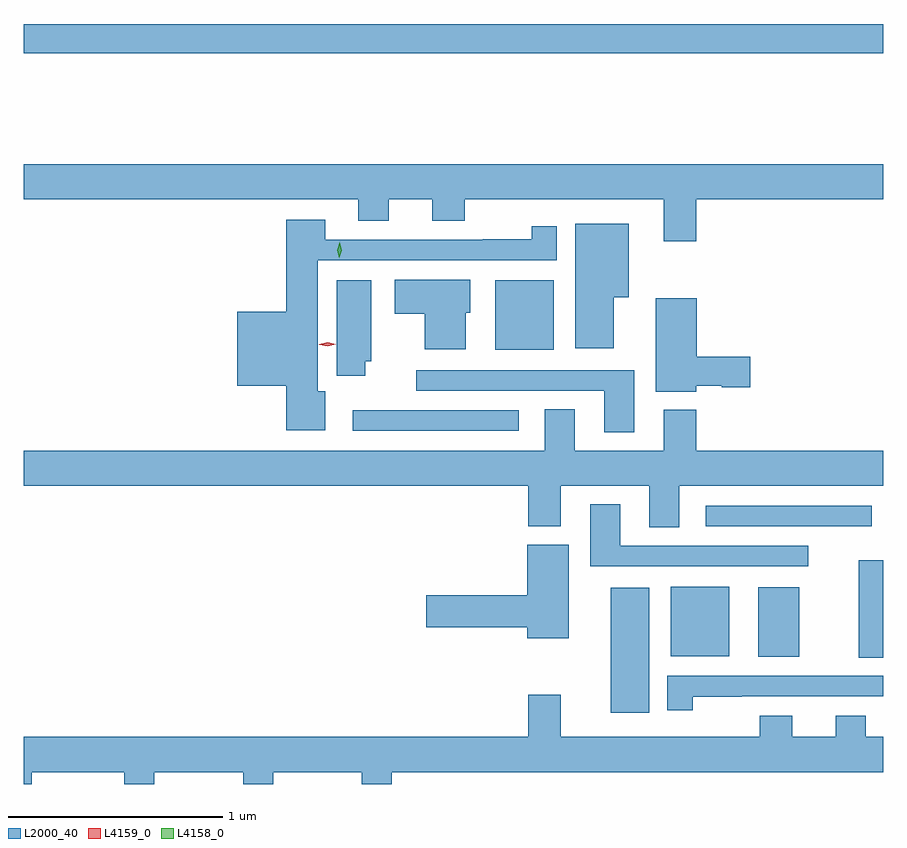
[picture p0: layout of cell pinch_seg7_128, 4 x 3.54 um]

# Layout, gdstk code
import gdstk
lib = gdstk.Library(unit=1e-6, precision=1e-09)
def R(c, l, rs):  # rectangles x0, y0, x1, y1
    for r in rs: c.add(gdstk.rectangle(r[:2], r[2:], *l))
def P(c, l, *ps):  # polygons
    for p in ps: c.add(gdstk.Polygon(p, *l))
L2000_40 = (2000, 40)
L4158_0 = (4158, 0)
L4159_0 = (4159, 0)

pinch_seg7_128 = lib.new_cell('pinch_seg7_128')
R(pinch_seg7_128, L2000_40, [(971.831,1020.872,972.01,1021.453), (972.986,1021.129,973.1,1021.582), (972.518,1021.133,972.709,1021.456), (972.11,1021.136,972.382,1021.459), (972.273,1021.74,973.045,1021.836), (970.632,1022.184,971.404,1022.28), (971.294,1022.561,971.566,1022.884), (969.1,1023.94,973.1,1024.076)])
P(pinch_seg7_128, L2000_40, [(972.23,1023.26),(973.1,1023.26),(973.1,1023.424),(969.1,1023.424),(969.1,1023.26),(970.658,1023.26),(970.658,1023.161),(970.798,1023.161),(970.798,1023.26),(971,1023.26),(971,1023.161),(971.153,1023.161),(971.153,1023.26),(972.077,1023.26),(972.077,1023.066),(972.23,1023.066)],
  [(970.504,1022.368),(970.468,1022.368),(970.468,1022.976),(971.581,1022.976),(971.581,1023.136),(971.464,1023.136),(971.464,1023.074),(971.236,1023.074),(971.236,1023.072),(970.504,1023.072),(970.504,1023.166),(970.322,1023.166),(970.322,1022.737),(970.094,1022.737),(970.094,1022.393),(970.322,1022.393),(970.322,1022.186),(970.504,1022.186)],
  [(971.845,1022.804),(971.914,1022.804),(971.914,1023.148),(971.666,1023.148),(971.666,1022.567),(971.845,1022.567)],
  [(971.158,1022.733),(971.179,1022.733),(971.179,1022.887),(970.827,1022.887),(970.827,1022.729),(970.967,1022.729),(970.967,1022.564),(971.158,1022.564)],
  [(970.69,1022.508),(970.717,1022.508),(970.717,1022.884),(970.556,1022.884),(970.556,1022.439),(970.69,1022.439)],
  [(972.228,1022.393),(972.348,1022.393),(972.348,1022.386),(972.481,1022.386),(972.481,1022.528),(972.232,1022.528),(972.232,1022.8),(972.041,1022.8),(972.041,1022.366),(972.228,1022.366)],
  [(971.941,1022.466),(970.926,1022.466),(970.926,1022.37),(971.801,1022.37),(971.801,1022.178),(971.941,1022.178)],
  [(972.151,1021.928),(973.1,1021.928),(973.1,1022.092),(972.23,1022.092),(972.23,1022.281),(972.077,1022.281),(972.077,1022.092),(971.665,1022.092),(971.665,1022.285),(971.525,1022.285),(971.525,1022.092),(969.1,1022.092),(969.1,1021.928),(971.447,1021.928),(971.447,1021.739),(971.599,1021.739),(971.599,1021.928),(972.011,1021.928),(972.011,1021.735),(972.151,1021.735)],
  [(972.751,1021.65),(971.875,1021.65),(971.875,1021.843),(971.735,1021.843),(971.735,1021.554),(972.751,1021.554)],
  [(971.635,1021.654),(971.444,1021.654),(971.444,1021.418),(970.974,1021.418),(970.974,1021.271),(971.444,1021.271),(971.444,1021.22),(971.635,1021.22)],
  [(972.213,1020.947),(972.44,1020.947),(972.44,1020.948),(973.1,1020.948),(973.1,1021.044),(972.095,1021.044),(972.095,1020.885),(972.213,1020.885)],
  [(969.139,1020.596),(969.569,1020.596),(969.569,1020.541),(969.709,1020.541),(969.709,1020.596),(970.121,1020.596),(970.121,1020.541),(970.261,1020.541),(970.261,1020.596),(970.673,1020.596),(970.673,1020.541),(970.813,1020.541),(970.813,1020.596),(973.1,1020.596),(973.1,1020.76),(973.018,1020.76),(973.018,1020.859),(972.878,1020.859),(972.878,1020.76),(972.676,1020.76),(972.676,1020.859),(972.524,1020.859),(972.524,1020.76),(971.599,1020.76),(971.599,1020.955),(971.447,1020.955),(971.447,1020.76),(969.1,1020.76),(969.1,1020.541),(969.139,1020.541)])
P(pinch_seg7_128, L4158_0, [(970.568,1022.988),(970.568,1022.988),(970.56,1023.024),(970.571,1023.06),(970.572,1023.06),(970.572,1023.06),(970.58,1023.024),(970.569,1022.988)])
P(pinch_seg7_128, L4159_0, [(970.514,1022.576),(970.476,1022.585),(970.475,1022.585),(970.476,1022.586),(970.514,1022.596),(970.552,1022.587),(970.552,1022.587),(970.552,1022.587)])

lib.write_gds('pinch_seg7_128.gds')
